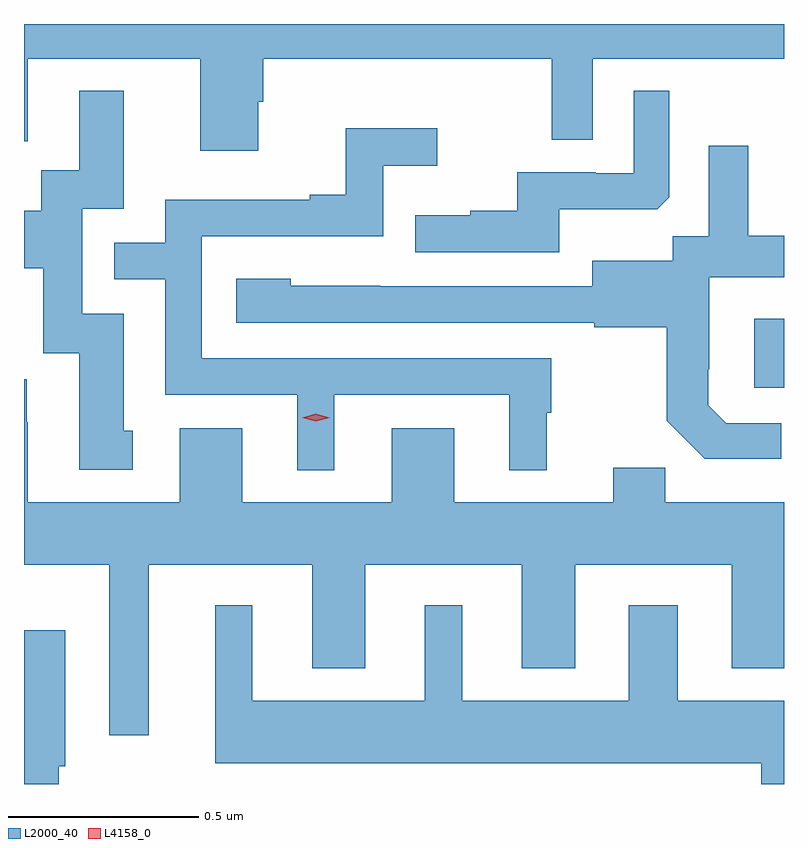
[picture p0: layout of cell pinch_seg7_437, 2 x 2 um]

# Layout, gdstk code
import gdstk
lib = gdstk.Library(unit=1e-6, precision=1e-09)
def R(c, l, rs):  # rectangles x0, y0, x1, y1
    for r in rs: c.add(gdstk.rectangle(r[:2], r[2:], *l))
def P(c, l, *ps):  # polygons
    for p in ps: c.add(gdstk.Polygon(p, *l))
L2000_40 = (2000, 40)
L4158_0 = (4158, 0)

pinch_seg7_437 = lib.new_cell('pinch_seg7_437')
R(pinch_seg7_437, L2000_40, [(312.059,1071.678,312.137,1071.859)])
P(pinch_seg7_437, L2000_40, [(310.753,1072.431),(310.766,1072.431),(310.766,1072.544),(311.526,1072.544),(311.526,1072.33),(311.634,1072.33),(311.634,1072.544),(312.137,1072.544),(312.137,1072.635),(310.137,1072.635),(310.137,1072.326),(310.147,1072.326),(310.147,1072.544),(310.601,1072.544),(310.601,1072.302),(310.753,1072.302)],
  [(310.423,1071.564),(310.399,1071.564),(310.399,1071.873),(310.29,1071.873),(310.29,1072.149),(310.399,1072.149),(310.399,1072.459),(310.283,1072.459),(310.283,1072.25),(310.182,1072.25),(310.182,1072.144),(310.137,1072.144),(310.137,1071.992),(310.187,1071.992),(310.187,1071.768),(310.283,1071.768),(310.283,1071.462),(310.423,1071.462)],
  [(311.545,1072.148),(311.803,1072.148),(311.835,1072.179),(311.835,1072.459),(311.742,1072.459),(311.742,1072.242),(311.642,1072.242),(311.642,1072.245),(311.435,1072.245),(311.435,1072.144),(311.311,1072.144),(311.311,1072.132),(311.167,1072.132),(311.167,1072.035),(311.545,1072.035)],
  [(310.954,1071.66),(311.414,1071.66),(311.414,1071.461),(311.512,1071.461),(311.512,1071.612),(311.524,1071.612),(311.524,1071.756),(310.605,1071.756),(310.605,1072.077),(311.082,1072.077),(311.082,1072.262),(311.224,1072.262),(311.224,1072.361),(310.984,1072.361),(310.984,1072.186),(310.889,1072.186),(310.889,1072.173),(310.509,1072.173),(310.509,1072.059),(310.375,1072.059),(310.375,1071.963),(310.509,1071.963),(310.509,1071.66),(310.856,1071.66),(310.856,1071.461),(310.954,1071.461)],
  [(312.13,1071.585),(311.985,1071.585),(311.938,1071.632),(311.938,1071.727),(311.94,1071.727),(311.94,1071.968),(312.137,1071.968),(312.137,1072.078),(312.043,1072.078),(312.043,1072.315),(311.939,1072.315),(311.939,1072.076),(311.844,1072.076),(311.844,1072.012),(311.633,1072.012),(311.633,1071.945),(311.075,1071.945),(311.075,1071.946),(310.839,1071.946),(310.839,1071.964),(310.695,1071.964),(310.695,1071.849),(311.637,1071.849),(311.637,1071.837),(311.829,1071.837),(311.829,1071.591),(311.929,1071.491),(312.13,1071.491)],
  [(310.465,1071.212),(310.895,1071.212),(310.895,1070.939),(311.035,1070.939),(311.035,1071.212),(311.447,1071.212),(311.447,1070.939),(311.587,1070.939),(311.587,1071.212),(311.999,1071.212),(311.999,1070.939),(312.137,1070.939),(312.137,1071.376),(311.825,1071.376),(311.825,1071.467),(311.687,1071.467),(311.687,1071.376),(311.269,1071.376),(311.269,1071.571),(311.105,1071.571),(311.105,1071.376),(310.711,1071.376),(310.711,1071.571),(310.547,1071.571),(310.547,1071.376),(310.147,1071.376),(310.147,1071.587),(310.144,1071.587),(310.144,1071.7),(310.137,1071.7),(310.137,1071.212),(310.361,1071.212),(310.361,1070.763),(310.465,1070.763)],
  [(312.137,1070.854),(311.857,1070.854),(311.857,1071.106),(311.729,1071.106),(311.729,1070.854),(311.29,1070.854),(311.29,1071.106),(311.192,1071.106),(311.192,1070.854),(310.738,1070.854),(310.738,1071.106),(310.64,1071.106),(310.64,1070.69),(312.077,1070.69),(312.077,1070.635),(312.137,1070.635)],
  [(310.228,1070.682),(310.246,1070.682),(310.246,1071.04),(310.137,1071.04),(310.137,1070.635),(310.228,1070.635)])
P(pinch_seg7_437, L4158_0, [(310.905,1071.589),(310.869,1071.599),(310.869,1071.599),(310.869,1071.599),(310.905,1071.609),(310.941,1071.599),(310.941,1071.599),(310.941,1071.599)])

lib.write_gds('pinch_seg7_437.gds')
